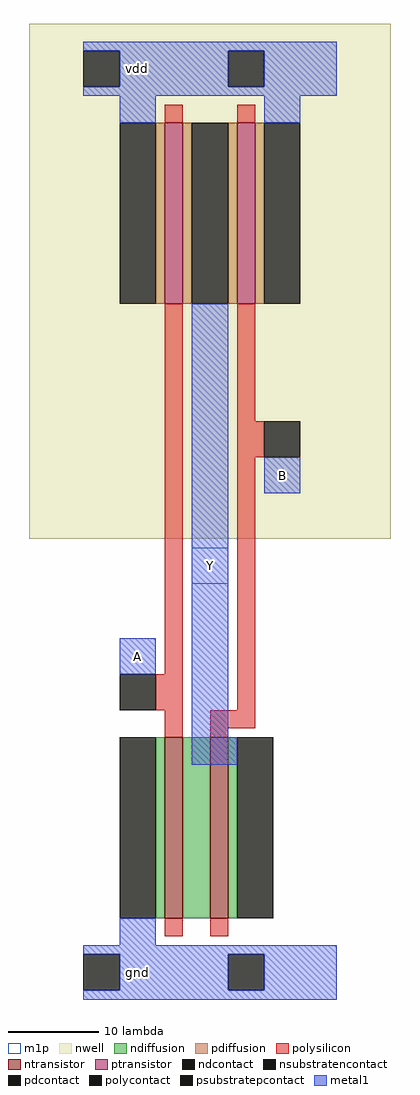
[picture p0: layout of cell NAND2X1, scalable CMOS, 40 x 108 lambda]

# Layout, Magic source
magic
tech scmos
<< nwell >>
rect -8 48 32 105
<< ntransistor >>
rect 7 6 9 26
rect 12 6 14 26
<< ptransistor >>
rect 7 74 9 94
rect 15 74 17 94
<< ndiffusion >>
rect 6 6 7 26
rect 9 6 12 26
rect 14 6 15 26
<< pdiffusion >>
rect 6 74 7 94
rect 9 74 10 94
rect 14 74 15 94
rect 17 74 18 94
<< ndcontact >>
rect 2 6 6 26
rect 15 6 19 26
<< pdcontact >>
rect 2 74 6 94
rect 10 74 14 94
rect 18 74 22 94
<< psubstratepcontact >>
rect -2 -2 2 2
rect 14 -2 18 2
<< nsubstratencontact >>
rect -2 98 2 102
rect 14 98 18 102
<< polysilicon >>
rect 7 94 9 96
rect 15 94 17 96
rect 7 33 9 74
rect 6 29 9 33
rect 15 61 17 74
rect 15 57 18 61
rect 15 29 17 57
rect 7 26 9 29
rect 12 27 17 29
rect 12 26 14 27
rect 7 4 9 6
rect 12 4 14 6
<< polycontact >>
rect 2 29 6 33
rect 18 57 22 61
<< metal1 >>
rect -2 102 26 103
rect 2 98 14 102
rect 18 98 26 102
rect -2 97 26 98
rect 2 94 6 97
rect 18 94 22 97
rect 2 33 6 37
rect 10 26 14 74
rect 18 53 22 57
rect 10 23 15 26
rect 2 3 6 6
rect -2 2 26 3
rect 2 -2 14 2
rect 18 -2 26 2
rect -2 -3 26 -2
<< m1p >>
rect 18 53 22 57
rect 10 43 14 47
rect 2 33 6 37
<< labels >>
rlabel metal1 4 100 4 100 6 vdd
rlabel m1p 12 45 12 45 6 Y
rlabel metal1 4 0 4 0 8 gnd
rlabel m1p 4 35 4 35 6 A
rlabel m1p 20 55 20 55 6 B
<< end >>
